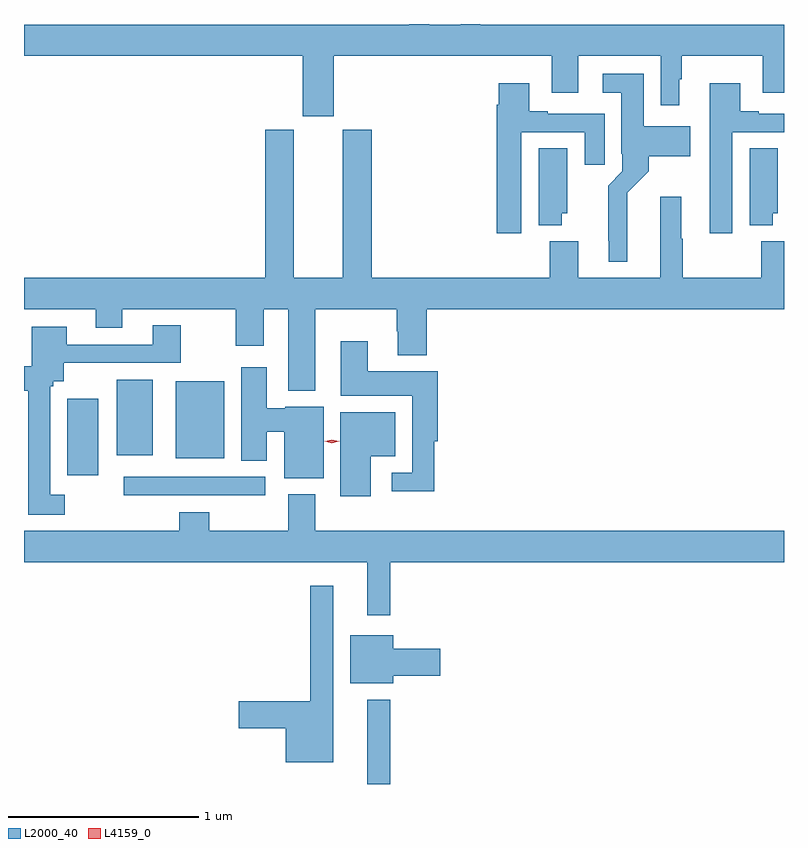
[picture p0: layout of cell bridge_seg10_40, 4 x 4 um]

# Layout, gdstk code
import gdstk
lib = gdstk.Library(unit=1e-6, precision=1e-09)
def R(c, l, rs):  # rectangles x0, y0, x1, y1
    for r in rs: c.add(gdstk.rectangle(r[:2], r[2:], *l))
def P(c, l, *ps):  # polygons
    for p in ps: c.add(gdstk.Polygon(p, *l))
L2000_40 = (2000, 40)
L4159_0 = (4159, 0)

bridge_seg10_40 = lib.new_cell('bridge_seg10_40')
R(bridge_seg10_40, L2000_40, [(929.249,1292.488,929.371,1292.932), (927.969,1294.008,928.714,1294.104), (927.671,1294.113,927.835,1294.516), (928.241,1294.202,928.498,1294.609), (927.932,1294.217,928.12,1294.615)])
P(bridge_seg10_40, L2000_40, [(929.074,1296.32),(930.221,1296.32),(930.221,1296.126),(930.361,1296.126),(930.361,1296.32),(930.795,1296.32),(930.795,1296.06),(930.892,1296.06),(930.892,1296.198),(930.904,1296.198),(930.904,1296.32),(931.331,1296.32),(931.331,1296.126),(931.443,1296.126),(931.443,1296.484),(929.845,1296.484),(929.845,1296.488),(929.741,1296.488),(929.741,1296.484),(929.575,1296.484),(929.575,1296.488),(929.471,1296.488),(929.471,1296.484),(927.443,1296.484),(927.443,1296.32),(928.91,1296.32),(928.91,1296.003),(929.074,1296.003)],
  [(930.619,1295.6),(930.732,1295.713),(930.732,1295.792),(930.949,1295.792),(930.949,1295.95),(930.706,1295.95),(930.706,1296.226),(930.489,1296.226),(930.489,1296.125),(930.587,1296.125),(930.587,1295.806),(930.591,1295.806),(930.591,1295.712),(930.517,1295.638),(930.517,1295.347),(930.521,1295.347),(930.521,1295.237),(930.619,1295.237)],
  [(930.061,1295.919),(930.395,1295.919),(930.395,1295.748),(930.499,1295.748),(930.499,1296.015),(930.199,1296.015),(930.199,1296.028),(930.103,1296.028),(930.103,1296.175),(929.942,1296.175),(929.942,1296.062),(929.93,1296.062),(929.93,1295.388),(930.061,1295.388)],
  [(931.171,1295.919),(931.443,1295.919),(931.443,1296.015),(931.309,1296.015),(931.309,1296.028),(931.213,1296.028),(931.213,1296.175),(931.052,1296.175),(931.052,1295.388),(931.171,1295.388)],
  [(928.975,1294.988),(929.404,1294.988),(929.404,1294.872),(929.411,1294.872),(929.411,1294.745),(929.564,1294.745),(929.564,1294.988),(931.443,1294.988),(931.443,1295.344),(931.324,1295.344),(931.324,1295.152),(930.909,1295.152),(930.909,1295.357),(930.901,1295.357),(930.901,1295.578),(930.791,1295.578),(930.791,1295.152),(930.361,1295.152),(930.361,1295.344),(930.209,1295.344),(930.209,1295.152),(929.273,1295.152),(929.273,1295.931),(929.12,1295.931),(929.12,1295.152),(928.864,1295.152),(928.864,1295.931),(928.712,1295.931),(928.712,1295.152),(927.443,1295.152),(927.443,1294.988),(927.821,1294.988),(927.821,1294.889),(927.961,1294.889),(927.961,1294.988),(928.558,1294.988),(928.558,1294.794),(928.705,1294.794),(928.705,1294.988),(928.835,1294.988),(928.835,1294.559),(928.975,1294.559)],
  [(930.274,1295.493),(930.301,1295.493),(930.301,1295.834),(930.152,1295.834),(930.152,1295.429),(930.274,1295.429)],
  [(931.384,1295.493),(931.411,1295.493),(931.411,1295.834),(931.262,1295.834),(931.262,1295.429),(931.384,1295.429)],
  [(927.658,1294.011),(927.582,1294.011),(927.582,1294.581),(927.598,1294.581),(927.598,1294.607),(927.652,1294.607),(927.652,1294.704),(928.269,1294.704),(928.269,1294.903),(928.121,1294.903),(928.121,1294.8),(927.667,1294.8),(927.667,1294.894),(927.485,1294.894),(927.485,1294.687),(927.443,1294.687),(927.443,1294.558),(927.466,1294.558),(927.466,1293.906),(927.658,1293.906)],
  [(929.603,1294.293),(929.621,1294.293),(929.621,1294.66),(929.251,1294.66),(929.251,1294.819),(929.111,1294.819),(929.111,1294.532),(929.487,1294.532),(929.487,1294.125),(929.379,1294.125),(929.379,1294.028),(929.603,1294.028)],
  [(929.02,1294.474),(928.818,1294.474),(928.818,1294.465),(928.72,1294.465),(928.72,1294.681),(928.586,1294.681),(928.586,1294.189),(928.72,1294.189),(928.72,1294.343),(928.814,1294.343),(928.814,1294.097),(929.02,1294.097)],
  [(929.269,1294.214),(929.398,1294.214),(929.398,1294.444),(929.108,1294.444),(929.108,1294.002),(929.269,1294.002)],
  [(929.371,1293.656),(931.443,1293.656),(931.443,1293.82),(928.975,1293.82),(928.975,1294.012),(928.835,1294.012),(928.835,1293.82),(928.419,1293.82),(928.419,1293.919),(928.259,1293.919),(928.259,1293.82),(927.443,1293.82),(927.443,1293.656),(929.249,1293.656),(929.249,1293.375),(929.371,1293.375)],
  [(929.071,1293.532),(928.95,1293.532),(928.95,1292.924),(928.572,1292.924),(928.572,1292.782),(928.82,1292.782),(928.82,1292.603),(929.071,1292.603)],
  [(929.386,1293.059),(929.635,1293.059),(929.635,1293.201),(929.386,1293.201),(929.386,1293.271),(929.159,1293.271),(929.159,1293.017),(929.386,1293.017)])
P(bridge_seg10_40, L4159_0, [(929.064,1294.282),(929.026,1294.291),(929.026,1294.292),(929.026,1294.292),(929.064,1294.301),(929.102,1294.292),(929.103,1294.291),(929.102,1294.291)])

lib.write_gds('bridge_seg10_40.gds')
